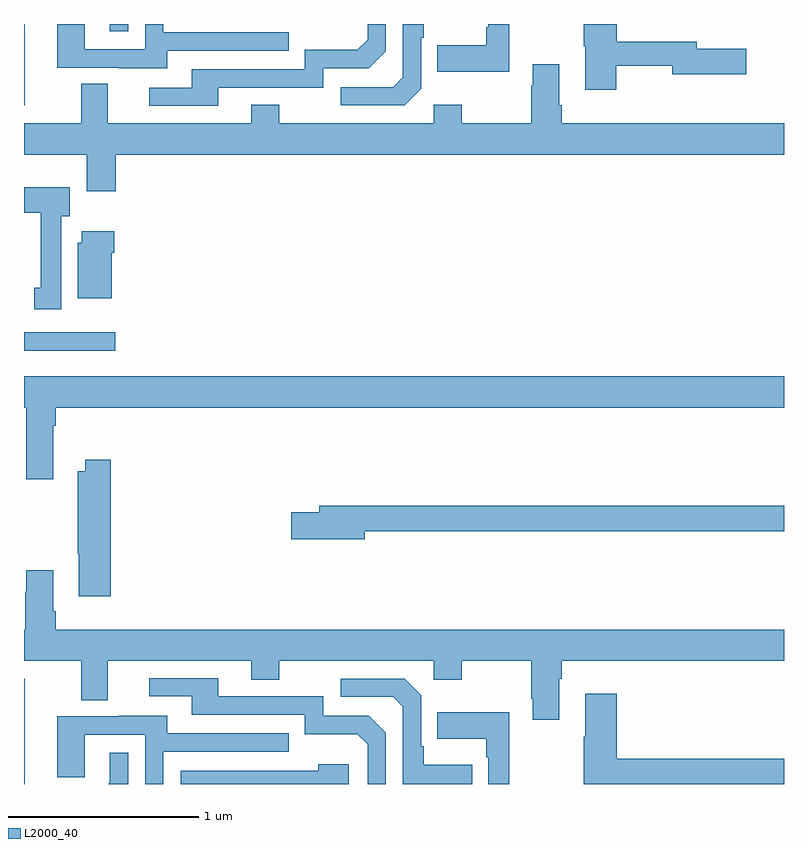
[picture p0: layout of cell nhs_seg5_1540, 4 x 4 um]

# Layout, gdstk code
import gdstk
lib = gdstk.Library(unit=1e-6, precision=1e-09)
def R(c, l, rs):  # rectangles x0, y0, x1, y1
    for r in rs: c.add(gdstk.rectangle(r[:2], r[2:], *l))
def P(c, l, *ps):  # polygons
    for p in ps: c.add(gdstk.Polygon(p, *l))
L2000_40 = (2000, 40)

nhs_seg5_1540 = lib.new_cell('nhs_seg5_1540')
R(nhs_seg5_1540, L2000_40, [(205,834.799,205.003,835.353), (205,837.08,205.48,837.177), (205,838.371,205.003,838.799), (205.451,838.761,205.548,838.799)])
P(nhs_seg5_1540, L2000_40, [(205.753,838.659),(206.393,838.659),(206.393,838.755),(205.734,838.755),(205.734,838.799),(205.638,838.799),(205.638,838.665),(205.32,838.665),(205.32,838.799),(205.175,838.799),(205.175,838.569),(205.499,838.569),(205.499,838.565),(205.753,838.565)],
  [(206.023,838.464),(206.574,838.464),(206.574,838.566),(206.814,838.566),(206.904,838.656),(206.904,838.799),(206.808,838.799),(206.808,838.716),(206.755,838.663),(206.478,838.663),(206.478,838.56),(205.883,838.56),(205.883,838.464),(205.659,838.464),(205.659,838.368),(206.023,838.368)],
  [(208.116,838.578),(208.412,838.578),(208.412,838.535),(208.801,838.535),(208.801,838.67),(208.54,838.67),(208.54,838.706),(208.121,838.706),(208.121,838.799),(207.946,838.799),(207.946,838.683),(207.953,838.683),(207.953,838.452),(208.116,838.452)],
  [(207.09,838.458),(207.09,838.727),(207.103,838.727),(207.103,838.799),(206.994,838.799),(206.994,838.518),(206.943,838.467),(206.667,838.467),(206.667,838.371),(207.003,838.371)],
  [(207.553,838.799),(207.444,838.799),(207.444,838.783),(207.432,838.783),(207.432,838.687),(207.175,838.687),(207.175,838.547),(207.553,838.547)],
  [(209,838.276),(207.83,838.276),(207.83,838.372),(207.817,838.372),(207.817,838.588),(207.677,838.588),(207.677,838.475),(207.67,838.475),(207.67,838.276),(207.303,838.276),(207.303,838.375),(207.156,838.375),(207.156,838.276),(206.343,838.276),(206.343,838.375),(206.195,838.375),(206.195,838.276),(205.441,838.276),(205.441,838.484),(205.301,838.484),(205.301,838.276),(205,838.276),(205,838.112),(205.331,838.112),(205.331,837.918),(205.484,837.918),(205.484,838.112),(209,838.112)],
  [(205.195,837.786),(205.24,837.786),(205.24,837.94),(205,837.94),(205,837.806),(205.088,837.806),(205.088,837.41),(205.055,837.41),(205.055,837.297),(205.195,837.297)],
  [(205.462,837.596),(205.475,837.596),(205.475,837.709),(205.304,837.709),(205.304,837.648),(205.283,837.648),(205.283,837.356),(205.462,837.356)],
  [(205.153,836.684),(205.166,836.684),(205.166,836.78),(209,836.78),(209,836.944),(205,836.944),(205,836.78),(205.013,836.78),(205.013,836.403),(205.153,836.403)],
  [(205.457,836.506),(205.322,836.506),(205.322,836.446),(205.282,836.446),(205.282,836.011),(205.289,836.011),(205.289,835.788),(205.457,835.788)],
  [(206.794,836.128),(209,836.128),(209,836.264),(206.555,836.264),(206.555,836.228),(206.406,836.228),(206.406,836.086),(206.794,836.086)],
  [(205.166,835.708),(205.153,835.708),(205.153,835.924),(205.013,835.924),(205.013,835.811),(205.006,835.811),(205.006,835.612),(205,835.612),(205,835.448),(205.301,835.448),(205.301,835.24),(205.441,835.24),(205.441,835.448),(206.195,835.448),(206.195,835.349),(206.343,835.349),(206.343,835.448),(207.156,835.448),(207.156,835.349),(207.303,835.349),(207.303,835.448),(207.67,835.448),(207.67,835.249),(207.677,835.249),(207.677,835.137),(207.817,835.137),(207.817,835.352),(207.83,835.352),(207.83,835.448),(209,835.448),(209,835.612),(205.166,835.612)],
  [(206.904,835.068),(206.814,835.158),(206.574,835.158),(206.574,835.26),(206.023,835.26),(206.023,835.356),(205.659,835.356),(205.659,835.26),(205.883,835.26),(205.883,835.164),(206.478,835.164),(206.478,835.061),(206.755,835.061),(206.808,835.008),(206.808,834.799),(206.904,834.799)],
  [(207.359,834.901),(207.103,834.901),(207.103,834.997),(207.09,834.997),(207.09,835.266),(207.003,835.353),(206.667,835.353),(206.667,835.257),(206.943,835.257),(206.994,835.206),(206.994,834.799),(207.359,834.799)],
  [(209,834.932),(208.121,834.932),(208.121,835.273),(207.953,835.273),(207.953,835.049),(207.946,835.049),(207.946,834.799),(209,834.799)],
  [(207.553,835.177),(207.175,835.177),(207.175,835.037),(207.432,835.037),(207.432,834.941),(207.444,834.941),(207.444,834.799),(207.553,834.799)],
  [(205.734,834.969),(206.393,834.969),(206.393,835.065),(205.753,835.065),(205.753,835.159),(205.499,835.159),(205.499,835.155),(205.175,835.155),(205.175,834.835),(205.32,834.835),(205.32,835.059),(205.638,835.059),(205.638,834.799),(205.734,834.799)],
  [(205.548,834.964),(205.451,834.964),(205.451,834.807),(205.443,834.799),(205.548,834.799)],
  [(206.71,834.904),(206.549,834.904),(206.549,834.87),(205.824,834.87),(205.824,834.799),(206.71,834.799)])

lib.write_gds('nhs_seg5_1540.gds')
